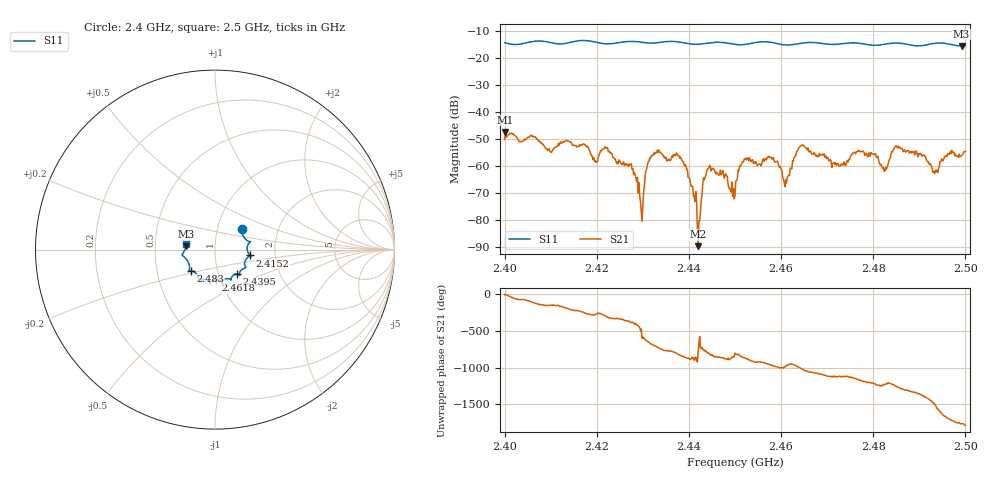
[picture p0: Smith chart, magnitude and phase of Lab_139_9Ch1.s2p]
# Hz S RI R 50
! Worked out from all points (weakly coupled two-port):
!   601 points, 2.4 GHz to 2.5 GHz, reference 50 ohm
!   highest |S21| = -47.55 dB at 2.4002 GHz (marker M1); lowest = -89.8 dB at 2.442 GHz (marker M2)
!   lowest |S11| = -15.7 dB at 2.4992 GHz (marker M3), VSWR 1.39, Z = 36 + j1.34 ohm
!   |S11| at or under -10 dB: start of sweep to end of sweep
!   S12 and S22 are empty: the file has one direction only
!   S11 on the Smith chart (normalised r, x): 2.4 GHz: 1.31, +0.31; 2.4152 GHz: 1.48, -0.10; 2.4395 GHz: 1.23, -0.34; 2.4618 GHz: 0.95, -0.34; 2.483 GHz: 0.74, -0.18; 2.5 GHz: 0.72, +0.05
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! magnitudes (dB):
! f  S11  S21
! 2.4 GHz  -14.5  -50.3
! 2.4002 GHz  -14.6  -47.5
! 2.4152 GHz  -14.0  -52.6
! 2.4167 GHz  -13.7  -52.5
! 2.4273 GHz  -14.0  -59.5
! 2.4298 GHz  -14.3  -80.5
! 2.4312 GHz  -14.6  -58.6
! 2.4333 GHz  -14.4  -55.1
! 2.4395 GHz  -14.7  -61.5
! 2.442 GHz  -15.1  -89.8
! 2.4443 GHz  -14.6  -60.6
! 2.45 GHz  -15.1  -70.9
! 2.4523 GHz  -15.1  -57.2
! 2.4618 GHz  -15.3  -63.6
! 2.4643 GHz  -14.7  -52.6
! 2.4667 GHz  -14.4  -55.7
! 2.483 GHz  -14.9  -60.5
! 2.4833 GHz  -14.8  -58.7
! 2.4852 GHz  -14.6  -53.2
! 2.4935 GHz  -14.7  -61.7
! 2.4992 GHz  -15.7  -56.2
! 2.5 GHz  -15.6  -54.7
